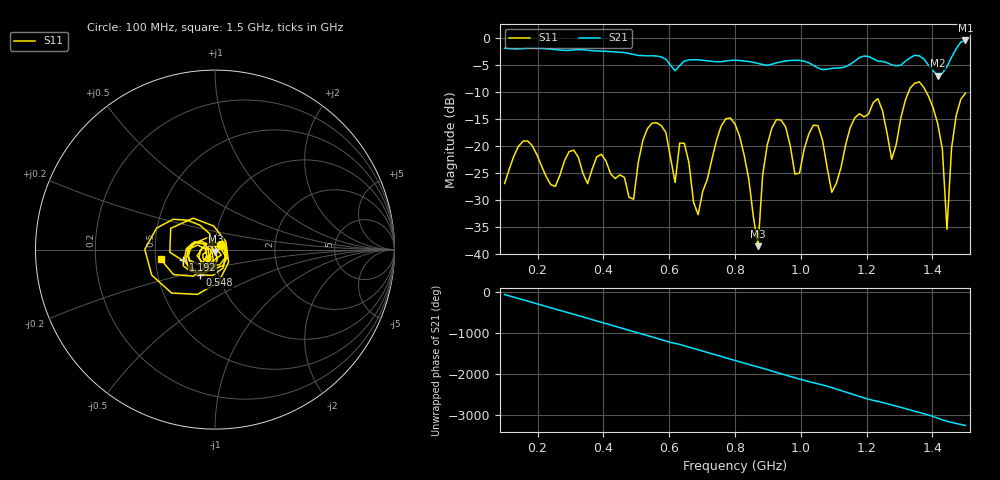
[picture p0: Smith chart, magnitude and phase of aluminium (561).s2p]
! NanoVNA-App
! Date: 2025-09-25 14:59:39
! Start: 100MHz Stop: 1,5GHz Points: 101
! S-Parameter data: F S11 S21 S12 S22
# Hz S RI R 50
!  Frequency  S11_Real  S11_Imag  S21_Real  S21_Imag  S12_Real  S12_Imag  S22_Real  S22_Imag
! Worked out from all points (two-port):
!   101 points, 100 MHz to 1.5 GHz, reference 50 ohm
!   highest |S21| = -0.48 dB at 1.5 GHz (marker M1); lowest = -7.0 dB at 1.416 GHz (marker M2)
!   |S21| within 3 dB of the highest: start of sweep to 571.8 MHz; 1.459 GHz to end of sweep (the widest 2 of 4)
!   lowest |S11| = -38.6 dB at 870 MHz (marker M3), VSWR 1.02, Z = 50.2 - j1.17 ohm
!   |S11| at or under -10 dB: start of sweep to 1.328 GHz; 1.381 GHz to end of sweep
!   S12 and S22 are empty: the file has one direction only
!   S11 on the Smith chart (normalised r, x): 100 MHz: 1.07, +0.06; 548 MHz: 0.82, -0.24; 1.192 GHz: 0.70, -0.08; 1.5 GHz: 0.53, -0.06
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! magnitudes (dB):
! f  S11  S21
! 100 MHz  -27.0  -1.9
! 156 MHz  -19.1  -2.0
! 338 MHz  -25.1  -2.2
! 492 MHz  -29.9  -3.1
! 548 MHz  -15.8  -3.3
! 576 MHz  -16.2  -3.5
! 646 MHz  -19.5  -4.3
! 688 MHz  -32.7  -4.1
! 800 MHz  -16.0  -4.1
! 870 MHz  -38.6  -4.7
! 912 MHz  -16.7  -4.9
! 982 MHz  -25.2  -4.2
! 1.038 GHz  -16.2  -5.1
! 1.094 GHz  -28.6  -5.7
! 1.192 GHz  -14.6  -3.4
! 1.234 GHz  -11.3  -4.3
! 1.276 GHz  -22.5  -5.0
! 1.346 GHz  -8.4  -3.2
! 1.416 GHz  -15.9  -7.0
! 1.444 GHz  -35.5  -5.3
! 1.458 GHz  -20.4  -3.6
! 1.5 GHz  -10.2  -0.5
